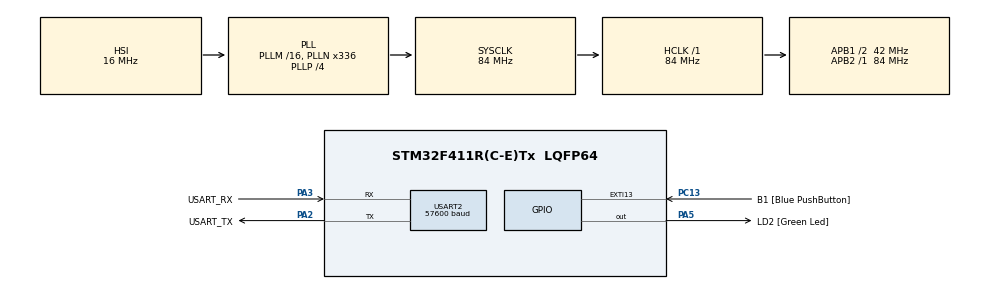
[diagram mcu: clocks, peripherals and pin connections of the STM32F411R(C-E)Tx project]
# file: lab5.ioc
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Dma.Request0=USART2_RX
Dma.Request1=USART2_TX
Dma.USART2_RX.0.Direction=DMA_PERIPH_TO_MEMORY
Dma.USART2_RX.0.FIFOMode=DMA_FIFOMODE_DISABLE
Dma.USART2_RX.0.Instance=DMA1_Stream5
Dma.USART2_RX.0.MemDataAlignment=DMA_MDATAALIGN_BYTE
Dma.USART2_RX.0.MemInc=DMA_MINC_ENABLE
Dma.USART2_RX.0.Mode=DMA_CIRCULAR
Dma.USART2_RX.0.PeriphDataAlignment=DMA_PDATAALIGN_BYTE
Dma.USART2_RX.0.PeriphInc=DMA_PINC_DISABLE
Dma.USART2_RX.0.Priority=DMA_PRIORITY_LOW
Dma.USART2_TX.1.Direction=DMA_MEMORY_TO_PERIPH
Dma.USART2_TX.1.FIFOMode=DMA_FIFOMODE_DISABLE
Dma.USART2_TX.1.Instance=DMA1_Stream6
Dma.USART2_TX.1.MemDataAlignment=DMA_MDATAALIGN_BYTE
Dma.USART2_TX.1.MemInc=DMA_MINC_ENABLE
Dma.USART2_TX.1.Mode=DMA_CIRCULAR
Dma.USART2_TX.1.PeriphDataAlignment=DMA_PDATAALIGN_BYTE
Dma.USART2_TX.1.PeriphInc=DMA_PINC_DISABLE
Dma.USART2_TX.1.Priority=DMA_PRIORITY_LOW
Mcu.Family=STM32F4
Mcu.Name=STM32F411R(C-E)Tx
Mcu.Package=LQFP64
NVIC.DMA1_Stream5_IRQn=true\:0\:0\:false\:false\:true\:false\:true\:true
NVIC.DMA1_Stream6_IRQn=true\:0\:0\:false\:false\:true\:false\:true\:true
NVIC.EXTI15_10_IRQn=true\:0\:0\:false\:false\:true\:true\:true\:true
NVIC.PriorityGroup=NVIC_PRIORITYGROUP_0
NVIC.USART2_IRQn=true\:0\:0\:false\:false\:true\:true\:true\:true
PA13.GPIO_Label=TMS
PA13.Mode=Serial_Wire
PA13.Signal=SYS_JTMS-SWDIO
PA14.GPIO_Label=TCK
PA14.Mode=Serial_Wire
PA14.Signal=SYS_JTCK-SWCLK
PA2.GPIO_Label=USART_TX
PA2.Mode=Asynchronous
PA2.Signal=USART2_TX
PA3.GPIO_Label=USART_RX
PA3.Mode=Asynchronous
PA3.Signal=USART2_RX
PA5.GPIO_Label=LD2 [Green Led]
PA5.Signal=GPIO_Output
PB3.GPIO_Label=SWO
PB3.Signal=SYS_JTDO-SWO
PC13-ANTI_TAMP.GPIO_Label=B1 [Blue PushButton]
PC13-ANTI_TAMP.GPIO_ModeDefaultEXTI=GPIO_MODE_IT_FALLING
PC13-ANTI_TAMP.Signal=GPXTI13
PC14-OSC32_IN.Mode=LSE-External-Oscillator
PC14-OSC32_IN.Signal=RCC_OSC32_IN
PC15-OSC32_OUT.Mode=LSE-External-Oscillator
PC15-OSC32_OUT.Signal=RCC_OSC32_OUT
PH0\ -\ OSC_IN.Mode=HSE-External-Clock-Source
PH0\ -\ OSC_IN.Signal=RCC_OSC_IN
PH1\ -\ OSC_OUT.Mode=HSE-External-Clock-Source
PH1\ -\ OSC_OUT.Signal=RCC_OSC_OUT
ProjectManager.HeapSize=0x200
ProjectManager.StackSize=0x400
ProjectManager.TargetToolchain=STM32CubeIDE
RCC.48MHZClocksFreq_Value=84000000
RCC.AHBFreq_Value=84000000
RCC.APB1CLKDivider=RCC_HCLK_DIV2
RCC.APB1Freq_Value=42000000
RCC.APB1TimFreq_Value=84000000
RCC.APB2Freq_Value=84000000
RCC.APB2TimFreq_Value=84000000
RCC.CortexFreq_Value=84000000
RCC.FLatency-AdvancedSettings=FLASH_LATENCY_2
RCC.HCLKFreq_Value=84000000
RCC.HSE_VALUE=8000000
RCC.HSI_VALUE=16000000
RCC.PLLN=336
RCC.PLLP=RCC_PLLP_DIV4
RCC.SYSCLKFreq_VALUE=84000000
RCC.SYSCLKSource=RCC_SYSCLKSOURCE_PLLCLK
RCC.VCOOutputFreq_Value=336000000
USART2.BaudRate=57600
USART2.VirtualMode=VM_ASYNC
board=NUCLEO-F411RE

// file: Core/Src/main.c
/* USER CODE BEGIN Header */
/**
  ******************************************************************************
  * @file           : main.c
  * @brief          : Main program body
  ******************************************************************************
  * @attention
  *
  * Copyright (c) 2023 STMicroelectronics.
  * All rights reserved.
  *
  * This software is licensed under terms that can be found in the LICENSE file
  * in the root directory of this software component.
  * If no LICENSE file comes with this software, it is provided AS-IS.
  *
  ******************************************************************************
  */
/* USER CODE END Header */
#include "main.h"

/* USER CODE BEGIN Includes */
#include "stdio.h"
#include "string.h"
/* USER CODE END Includes */

UART_HandleTypeDef huart2;
DMA_HandleTypeDef hdma_usart2_rx;
DMA_HandleTypeDef hdma_usart2_tx;

/* USER CODE BEGIN PV */
uint8_t RxBuffer[2];
uint8_t Menu[300];
uint8_t Step = 1;
uint8_t LED = 1;
uint8_t State = 0;
uint8_t Press = 0;
/* USER CODE END PV */

void SystemClock_Config(void);
static void MX_GPIO_Init(void);
static void MX_DMA_Init(void);
static void MX_USART2_UART_Init(void);
/* USER CODE BEGIN PFP */

void UARTDMAConfig();
/* USER CODE END PFP */

int main(void)
{

  /* MCU Configuration--------------------------------------------------------*/

  /* Reset of all peripherals, Initializes the Flash interface and the Systick. */
  HAL_Init();

  /* Configure the system clock */
  SystemClock_Config();

  /* Initialize all configured peripherals */
  MX_GPIO_Init();
  MX_DMA_Init();
  MX_USART2_UART_Init();
  /* USER CODE BEGIN 2 */

  HAL_UART_Receive_IT(&huart2, RxBuffer, 1);
  /* USER CODE END 2 */

  /* Infinite loop */
  while (1)
  {

    /* USER CODE BEGIN 3 */
	  static uint32_t timestamp = 0;
	  if(HAL_GetTick() > timestamp && LED == 1){
		  HAL_GPIO_TogglePin(GPIOA, GPIO_PIN_5);
		  timestamp = HAL_GetTick()+ 500.0/Step; // 1 Hz
	  }
	  else if(LED == 0){
		  HAL_GPIO_WritePin(GPIOA, GPIO_PIN_5, 0);
	  }

  }
  /* USER CODE END 3 */
}

void SystemClock_Config(void)
{
  RCC_OscInitTypeDef RCC_OscInitStruct = {0};
  RCC_ClkInitTypeDef RCC_ClkInitStruct = {0};

  /** Configure the main internal regulator output voltage
  */
  __HAL_RCC_PWR_CLK_ENABLE();
  __HAL_PWR_VOLTAGESCALING_CONFIG(PWR_REGULATOR_VOLTAGE_SCALE1);

  /** Initializes the RCC Oscillators according to the specified parameters
  * in the RCC_OscInitTypeDef structure.
  */
  RCC_OscInitStruct.OscillatorType = RCC_OSCILLATORTYPE_HSI;
  RCC_OscInitStruct.HSIState = RCC_HSI_ON;
  RCC_OscInitStruct.HSICalibrationValue = RCC_HSICALIBRATION_DEFAULT;
  RCC_OscInitStruct.PLL.PLLState = RCC_PLL_ON;
  RCC_OscInitStruct.PLL.PLLSource = RCC_PLLSOURCE_HSI;
  RCC_OscInitStruct.PLL.PLLM = 16;
  RCC_OscInitStruct.PLL.PLLN = 336;
  RCC_OscInitStruct.PLL.PLLP = RCC_PLLP_DIV4;
  RCC_OscInitStruct.PLL.PLLQ = 4;
  if (HAL_RCC_OscConfig(&RCC_OscInitStruct) != HAL_OK)
  {
    Error_Handler();
  }

  /** Initializes the CPU, AHB and APB buses clocks
  */
  RCC_ClkInitStruct.ClockType = RCC_CLOCKTYPE_HCLK|RCC_CLOCKTYPE_SYSCLK
                              |RCC_CLOCKTYPE_PCLK1|RCC_CLOCKTYPE_PCLK2;
  RCC_ClkInitStruct.SYSCLKSource = RCC_SYSCLKSOURCE_PLLCLK;
  RCC_ClkInitStruct.AHBCLKDivider = RCC_SYSCLK_DIV1;
  RCC_ClkInitStruct.APB1CLKDivider = RCC_HCLK_DIV2;
  RCC_ClkInitStruct.APB2CLKDivider = RCC_HCLK_DIV1;

  if (HAL_RCC_ClockConfig(&RCC_ClkInitStruct, FLASH_LATENCY_2) != HAL_OK)
  {
    Error_Handler();
  }
}

static void MX_USART2_UART_Init(void)
{

  huart2.Instance = USART2;
  huart2.Init.BaudRate = 57600;
  huart2.Init.WordLength = UART_WORDLENGTH_8B;
  huart2.Init.StopBits = UART_STOPBITS_1;
  huart2.Init.Parity = UART_PARITY_NONE;
  huart2.Init.Mode = UART_MODE_TX_RX;
  huart2.Init.HwFlowCtl = UART_HWCONTROL_NONE;
  huart2.Init.OverSampling = UART_OVERSAMPLING_16;
  if (HAL_UART_Init(&huart2) != HAL_OK)
  {
    Error_Handler();
  }

}

static void MX_DMA_Init(void)
{

  /* DMA controller clock enable */
  __HAL_RCC_DMA1_CLK_ENABLE();

  /* DMA interrupt init */
  /* DMA1_Stream5_IRQn interrupt configuration */
  HAL_NVIC_SetPriority(DMA1_Stream5_IRQn, 0, 0);
  HAL_NVIC_EnableIRQ(DMA1_Stream5_IRQn);
  /* DMA1_Stream6_IRQn interrupt configuration */
  HAL_NVIC_SetPriority(DMA1_Stream6_IRQn, 0, 0);
  HAL_NVIC_EnableIRQ(DMA1_Stream6_IRQn);

}

static void MX_GPIO_Init(void)
{
  GPIO_InitTypeDef GPIO_InitStruct = {0};

  /* GPIO Ports Clock Enable */
  __HAL_RCC_GPIOC_CLK_ENABLE();
  __HAL_RCC_GPIOH_CLK_ENABLE();
  __HAL_RCC_GPIOA_CLK_ENABLE();
  __HAL_RCC_GPIOB_CLK_ENABLE();

  /*Configure GPIO pin Output Level */
  HAL_GPIO_WritePin(LD2_GPIO_Port, LD2_Pin, GPIO_PIN_RESET);

  /*Configure GPIO pin : B1_Pin */
  GPIO_InitStruct.Pin = B1_Pin;
  GPIO_InitStruct.Mode = GPIO_MODE_IT_FALLING;
  GPIO_InitStruct.Pull = GPIO_NOPULL;
  HAL_GPIO_Init(B1_GPIO_Port, &GPIO_InitStruct);

  /*Configure GPIO pin : LD2_Pin */
  GPIO_InitStruct.Pin = LD2_Pin;
  GPIO_InitStruct.Mode = GPIO_MODE_OUTPUT_PP;
  GPIO_InitStruct.Pull = GPIO_NOPULL;
  GPIO_InitStruct.Speed = GPIO_SPEED_FREQ_LOW;
  HAL_GPIO_Init(LD2_GPIO_Port, &GPIO_InitStruct);

  /* EXTI interrupt init*/
  HAL_NVIC_SetPriority(EXTI15_10_IRQn, 0, 0);
  HAL_NVIC_EnableIRQ(EXTI15_10_IRQn);

}

/* USER CODE BEGIN 4 */

void HAL_GPIO_EXTI_Callback(uint16_t GPIO_Pin)
{
	if(GPIO_Pin == GPIO_PIN_13){
		if(State == 3)Press += 1;
		if(State == 3 && Press == 1){
			sprintf((char*)Menu,"Button\r\n\n"
			  "*-------Button Status-------*\r\n\n"
			  " Press the Button to Show Status (Button Press)\r\n\n"
			  " x : back \r\n\n"
			  "==========================================\r\n\n"
			  "Enter Your in Input : ");
			HAL_UART_Transmit_IT(&huart2,Menu , strlen((char*)Menu));
		}
		else if(State == 3 && Press == 2){
			sprintf((char*)Menu,"Button\r\n\n"
			  "*-------Button Status-------*\r\n\n"
			  " Press the Button to Show Status (Button UnPress)\r\n\n"
			  " x : back \r\n\n"
			  "==========================================\r\n\n"
			  "Enter Your in Input : ");
			HAL_UART_Transmit_IT(&huart2,Menu , strlen((char*)Menu));
			Press = 0;

		}
	}
}

void HAL_UART_RxCpltCallback(UART_HandleTypeDef *huart){
	if(huart == &huart2){
		switch(State)
			  {
			  case 0: // Menu
				  sprintf((char*)Menu,"\r\n\n*--------- Welcome to Main Menu ---------*\r\n\n"
						  "**Select Menu**\r\n\n"
						  " Press 0 : LED Control \r\n\n"
						  " Press 1 : Button Status \r\n\n"
						  "==========================================\r\n\n"
						  " Enter Your in Input : ");
				  HAL_UART_Transmit_IT(&huart2, Menu, strlen((char*)Menu));
				  State = 1;
				  break;
			  case 1: //Menu Select
				  if(RxBuffer[0] == '0'){
					  sprintf((char*)Menu,"%s\r\n*-------LED Control-------*\r\n"
						  " a : Speed Up + 1 Hz (Current Hz is %d)\r\n"
						  " b : Speed Down -1 Hz \r\n"
						  " d : On/off \r\n x : back LED Status is %d (status 1 is OFF ,status 0 is ON)\r\n"
						  "==========================================\r\n\n"
						  "Enter Your in Input : ",RxBuffer,Step,LED);
					  HAL_UART_Transmit_IT(&huart2,Menu , strlen((char*)Menu));
				  	  State = 2;
				  }
				  else if(RxBuffer[0] == '1')
					  {
						sprintf((char*)Menu,"%s\r\n"
						  "*--------Button Status--------*\r\n\n"
						  " Press the Button to Show Status\r\n\n"
						  " x : back \r\n\n"
						  "==========================================\r\n\n"
						  "Enter Your in Input : ",RxBuffer);
					  HAL_UART_Transmit_IT(&huart2,Menu , strlen((char*)Menu));
					  State = 3;
				  }
				  else{
					  sprintf((char*)Menu,"%s\r\n*-------LED Control-------*\r\n"
							  "**%s is not in choice please try again**\r\n\n"
							  "**Select Menu**\r\n\n"
							  " Press 1 for LED Control \r\n\n"
							  " Press 2 for Button Status \r\n\n"
							  "==========================================\r\n\n"
							  " Enter Your in Input : ",RxBuffer,RxBuffer);
					  HAL_UART_Transmit_IT(&huart2, Menu, strlen((char*)Menu));

				  }
				  break;
			  case 2: //LED Control
				  if(RxBuffer[0] == 'a'){
					  sprintf((char*)Menu,"%s\r\n*-------LED Control-------*\r\n"
		  					  " a : Speed Up + 1 Hz (Current Hz is %d)\r\n"
		  					  " b : Speed Down -1 Hz \r\n"
		  					  " d : On/off \r\n x : back LED Status is %d (status 1 is OFF ,status 0 is ON)\r\n"
		  					  "==========================================\r\n\n"
		  					  "Enter Your in Input : ",RxBuffer,Step,LED);
					  HAL_UART_Transmit_IT(&huart2,Menu , strlen((char*)Menu));
					  if(Step < 254)Step = Step + 1;
				  }
				  else if(RxBuffer[0] == 'b'){
					  sprintf((char*)Menu,"%s\r\n*-------LED Control-------*\r\n"
							  " a : Speed Up + 1 Hz (Current Hz is %d)\r\n"
							  " b : Speed Down -1 Hz \r\n"
							  " d : On/off \r\n x : back LED Status is %d (status 1 is OFF ,status 0 is ON)\r\n"
							  "==========================================\r\n\n"
							  "Enter Your in Input : ",RxBuffer,Step,LED);
					  HAL_UART_Transmit_IT(&huart2,Menu , strlen((char*)Menu));
					  if(Step > 1)Step = Step - 1;
				  }
				  else if(RxBuffer[0] == 'd'){
					  if(LED == 0){
						  LED = 1;
						  sprintf((char*)Menu,"%s\r\n*-------LED Control-------*\r\n"
							  " a : Speed Up + 1 Hz (Current Hz is %d)\r\n"
							  " b : Speed Down -1 Hz \r\n"
							  " d : On/off \r\n x : back LED Status is %d (status 1 is OFF ,status 0 is ON)\r\n"
							  "==========================================\r\n\n"
							  "Enter Your in Input : ",RxBuffer,Step,LED);
					  }
					  else if(LED == 1){
						  LED = 0;
						  sprintf((char*)Menu,"%s\r\n*-------LED Control-------*\r\n"
							  " a : Speed Up + 1 Hz (Current Hz is %d)\r\n"
							  " b : Speed Down -1 Hz \r\n"
							  " d : On/off \r\n x : back LED Status is %d (status 1 is OFF ,status 0 is ON)\r\n"
							  "==========================================\r\n\n"
							  "Enter Your in Input : ",RxBuffer,Step,LED);
					  }
					  HAL_UART_Transmit_IT(&huart2,Menu , strlen((char*)Menu));
				  }
				  else if(RxBuffer[0] == 'x'){
					  State = 0;
				  }
				  else{
					  sprintf((char*)Menu,"%s\r\n*-------LED Control-------*\r\n"
					  "**%s is not in menu press only available menu**\r\n"
					  " a : Speed Up + 1 Hz (Current Hz is %d)\r\n"
					  " b : Speed Down -1 Hz \r\n"
					  " d : On/off \r\n x : back LED Status is %d (status 1 is OFF ,status 0 is ON)\r\n"
					  "==========================================\r\n\n"
					  "Enter Your in Input : ",RxBuffer,RxBuffer,Step,LED);
					  HAL_UART_Transmit_IT(&huart2,Menu , strlen((char*)Menu));

				  }

				  break;
			  case 3:
				  if(RxBuffer[0] == 'x'){
					  	State = 0;
					  	Press = 0;

				  }
				  else{
						sprintf((char*)Menu,"%s\r\n"
						  "*-------Button Status-------*\r\n\n"
						  "**%s is not in menu press only available menu**\r\n"
						  " Press the Button to Show Status\r\n"
						  " x : back \r\n"
						  "==========================================\r\n\n"
						  "Enter Your in Input : ",RxBuffer,RxBuffer);
						HAL_UART_Transmit_IT(&huart2,Menu , strlen((char*)Menu));
				  }

				  break;
			  }
		HAL_UART_Receive_IT(&huart2, RxBuffer, 1);
	}
}
/* USER CODE END 4 */

void Error_Handler(void)
{
  __disable_irq();
  while (1)
  {
  }
}
